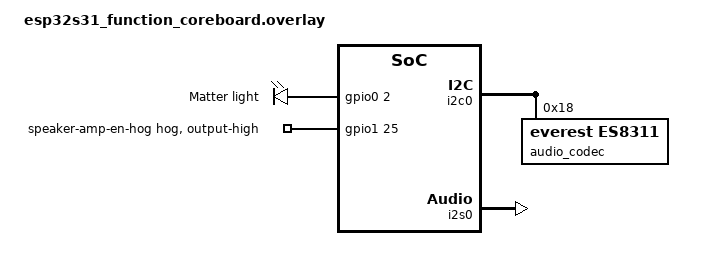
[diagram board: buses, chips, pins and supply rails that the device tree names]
/*
 * Copyright (c) 2026 Project CHIP Authors
 *
 * Licensed under the Apache License, Version 2.0 (the "License");
 * you may not use this file except in compliance with the License.
 * You may obtain a copy of the License at
 *
 *     http://www.apache.org/licenses/LICENSE-2.0
 *
 * Unless required by applicable law or agreed to in writing, software
 * distributed under the License is distributed on an "AS IS" BASIS
 * WITHOUT WARRANTIES OR CONDITIONS OF ANY KIND, either express or implied.
 * See the License for the specific language governing permissions and
 * limitations under the License.
 */

#include <zephyr/dt-bindings/gpio/gpio.h>

/ {
	aliases {
		led0 = &light_led;
		i2s-codec-tx = &i2s0;
	};

	leds {
		compatible = "gpio-leds";

		/* External LED; the on-board LED is a WS2812 on GPIO60. */
		light_led: led_0 {
			gpios = <&gpio0 2 GPIO_ACTIVE_HIGH>;
			label = "Matter light";
		};
	};
};

&i2c0 {
	audio_codec: audio-codec@18 {
		compatible = "everest,es8311";
		reg = <0x18>;
	};
};

/* NS4150B speaker amplifier enable on GPIO57 */
&gpio1 {
	speaker-amp-en-hog {
		gpio-hog;
		gpios = <25 GPIO_ACTIVE_HIGH>;
		output-high;
	};
};

/* I2S output to the on-board ES8311 codec; the I2S driver needs the DMA controller */
&i2s0 {
	status = "okay";
};

&dma {
	status = "okay";
};
